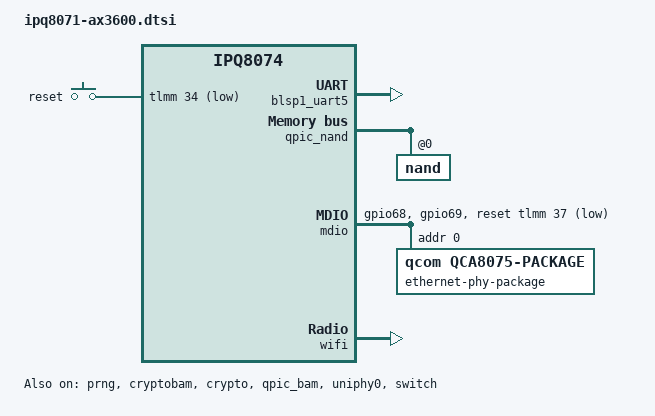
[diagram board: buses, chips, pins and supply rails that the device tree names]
// SPDX-License-Identifier: GPL-2.0-or-later OR MIT
/* Copyright (c) 2021, Robert Marko <robimarko@gmail.com> */

#include "ipq8074-512m.dtsi"
#include "ipq8074-ac-cpu.dtsi"
#include "ipq8074-ess.dtsi"
#include "ipq8074-nss.dtsi"
#include <dt-bindings/gpio/gpio.h>
#include <dt-bindings/input/input.h>

/ {
	aliases {
		serial0 = &blsp1_uart5;
		led-boot = &led_system_yellow;
		led-failsafe = &led_system_yellow;
		led-running = &led_system_blue;
		led-upgrade = &led_system_yellow;
		label-mac-device = &swport2;
	};

	chosen {
		stdout-path = "serial0:115200n8";
		bootargs-append = " root=/dev/ubiblock0_1";
	};

	keys {
		compatible = "gpio-keys";

		reset {
			label = "reset";
			gpios = <&tlmm 34 GPIO_ACTIVE_LOW>;
			linux,code = <KEY_RESTART>;
		};
	};
};

&tlmm {
	mdio_pins: mdio-pins {
		mdc {
			pins = "gpio68";
			function = "mdc";
			drive-strength = <8>;
			bias-pull-up;
		};

		mdio {
			pins = "gpio69";
			function = "mdio";
			drive-strength = <8>;
			bias-pull-up;
		};
	};
};

&blsp1_uart5 {
	status = "okay";
};

&prng {
	status = "okay";
};

&cryptobam {
	status = "okay";
};

&crypto {
	status = "okay";
};

&qpic_bam {
	status = "okay";
};

&qpic_nand {
	status = "okay";

	nand@0 {
		reg = <0>;
		nand-ecc-strength = <4>;
		nand-ecc-step-size = <512>;
		nand-bus-width = <8>;

		partitions {
			compatible = "qcom,smem-part";
		};
	};
};

&mdio {
	status = "okay";

	pinctrl-0 = <&mdio_pins>;
	pinctrl-names = "default";
	reset-gpios = <&tlmm 37 GPIO_ACTIVE_LOW>;

	ethernet-phy-package@0 {
		#address-cells = <1>;
		#size-cells = <0>;
		compatible = "qcom,qca8075-package";
		reg = <0>;

		qca8075_1: ethernet-phy@1 {
			compatible = "ethernet-phy-ieee802.3-c22";
			reg = <1>;
		};

		qca8075_2: ethernet-phy@2 {
			compatible = "ethernet-phy-ieee802.3-c22";
			reg = <2>;
		};

		qca8075_3: ethernet-phy@3 {
			compatible = "ethernet-phy-ieee802.3-c22";
			reg = <3>;
		};

		qca8075_4: ethernet-phy@4 {
			compatible = "ethernet-phy-ieee802.3-c22";
			reg = <4>;
		};
	};
};

&uniphy0 {
	status = "okay";
};

&switch {
	status = "okay";

	ports {
		#address-cells = <1>;
		#size-cells = <0>;

		port@0 {
			reg = <0>;
			ethernet = <&edma>;
			phy-mode = "internal";

			fixed-link {
				speed = <1000>;
				full-duplex;
			};
		};

		swport2: port@2 {
			reg = <2>;
			label = "wan";
			phy-handle = <&qca8075_1>;
			phy-mode = "psgmii";
			pcs-handle = <&uniphy0 1>;
		};

		swport3: port@3 {
			reg = <3>;
			label = "lan1";
			phy-handle = <&qca8075_2>;
			phy-mode = "psgmii";
			pcs-handle = <&uniphy0 2>;
		};

		swport4: port@4 {
			reg = <4>;
			label = "lan2";
			phy-handle = <&qca8075_3>;
			phy-mode = "psgmii";
			pcs-handle = <&uniphy0 3>;
		};

		swport5: port@5 {
			reg = <5>;
			label = "lan3";
			phy-handle = <&qca8075_4>;
			phy-mode = "psgmii";
			pcs-handle = <&uniphy0 4>;
		};
	};
};

&edma {
	status = "okay";
};

&wifi {
	status = "okay";

	qcom,ath11k-fw-memory-mode = <1>;
};
